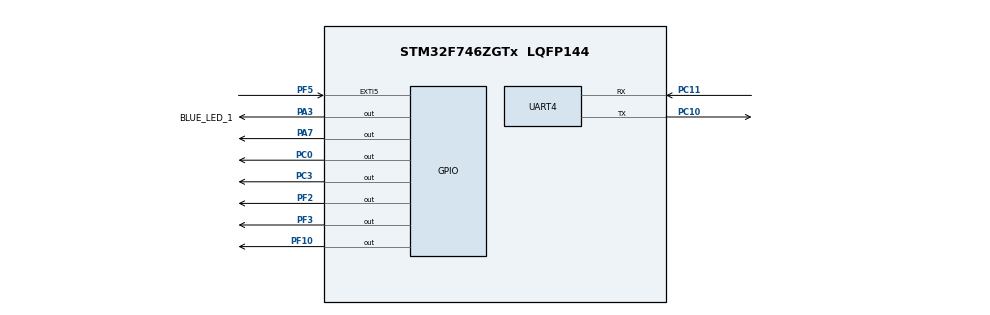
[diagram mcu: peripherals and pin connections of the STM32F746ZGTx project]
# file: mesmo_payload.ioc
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FREERTOS.Tasks01=defaultTask,24,128,StartDefaultTask,Default,NULL,Dynamic,NULL,NULL
Mcu.Family=STM32F7
Mcu.Name=STM32F746ZGTx
Mcu.Package=LQFP144
NVIC.PriorityGroup=NVIC_PRIORITYGROUP_4
NVIC.TIM1_UP_TIM10_IRQn=true\:15\:0\:false\:false\:true\:false\:false\:true\:true
NVIC.TimeBase=TIM1_UP_TIM10_IRQn
NVIC.TimeBaseIP=TIM1
NVIC.UART4_IRQn=true\:5\:0\:false\:false\:true\:true\:true\:true\:true
PA3.GPIO_Label=BLUE_LED_1
PA3.Signal=GPIO_Output
PA7.Signal=GPIO_Output
PC0.Signal=GPIO_Output
PC10.Mode=Asynchronous
PC10.Signal=UART4_TX
PC11.Mode=Asynchronous
PC11.Signal=UART4_RX
PC3.Signal=GPIO_Output
PF10.Signal=GPIO_Output
PF2.Signal=GPIO_Output
PF3.Signal=GPIO_Output
PF5.Signal=GPXTI5
ProjectManager.HeapSize=0x200
ProjectManager.StackSize=0x400
ProjectManager.TargetToolchain=STM32CubeIDE
RCC.HSE_VALUE=25000000
RCC.HSI_VALUE=16000000
RCC.LSE_VALUE=32768
RCC.USBFreq_Value=96000000
RCC.VCOOutputFreq_Value=192000000
VP_FREERTOS_VS_CMSIS_V2.Mode=CMSIS_V2
VP_SYS_VS_tim1.Mode=TIM1
board=custom

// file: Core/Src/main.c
/* USER CODE BEGIN Header */
/**
  ******************************************************************************
  * @file           : main.c
  * @brief          : Main program body
  ******************************************************************************
  * @attention
  *
  * Copyright (c) 2023 STMicroelectronics.
  * All rights reserved.
  *
  * This software is licensed under terms that can be found in the LICENSE file
  * in the root directory of this software component.
  * If no LICENSE file comes with this software, it is provided AS-IS.
  *
  ******************************************************************************
  */
/* USER CODE END Header */
#include "main.h"
#include "cmsis_os.h"

UART_HandleTypeDef huart4;

/* Definitions for defaultTask */
osThreadId_t defaultTaskHandle;
const osThreadAttr_t defaultTask_attributes = {
  .name = "defaultTask",
  .stack_size = 128 * 4,
  .priority = (osPriority_t) osPriorityNormal,
};
/* USER CODE BEGIN PV */
typedef enum {
    HEALTH_PING = 0x01,
    DATA_SEND   = 0x02,
    ECHO_MSG    = 0x03,
    LED_CONTROL = 0x04  // New command for LED control
} Command;

volatile uint8_t ledControlFlag = 0;

/* USER CODE END PV */

void SystemClock_Config(void);
static void MX_GPIO_Init(void);
static void MX_UART4_Init(void);
void StartDefaultTask(void *argument);

/* USER CODE BEGIN PFP */
uint8_t UART4_rxBuffer[2] = {0};
uint8_t UART4_txBuffer[10] = {0};

#define HEALTH_MSG  0x1409

/* USER CODE END PFP */

int main(void)
{

  /* MCU Configuration--------------------------------------------------------*/

  /* Reset of all peripherals, Initializes the Flash interface and the Systick. */
  HAL_Init();

  /* Configure the system clock */
  SystemClock_Config();

  /* Initialize all configured peripherals */
  MX_GPIO_Init();
  MX_UART4_Init();

  /* Init scheduler */
  osKernelInitialize();

  /* USER CODE BEGIN RTOS_TIMERS */
  //HAL_UART_Receive_IT(&huart4, UART4_rxBuffer, 8);
  /* USER CODE END RTOS_TIMERS */

  /* Create the thread(s) */
  /* creation of defaultTask */
  defaultTaskHandle = osThreadNew(StartDefaultTask, NULL, &defaultTask_attributes);

  /* USER CODE BEGIN RTOS_THREADS */
  HAL_UART_Receive_IT(&huart4, UART4_rxBuffer, 2);
  /* USER CODE END RTOS_THREADS */

  /* Start scheduler */
  osKernelStart();

  /* We should never get here as control is now taken by the scheduler */
  /* Infinite loop */
  while (1)
  {

  }
}

void SystemClock_Config(void)
{
  RCC_OscInitTypeDef RCC_OscInitStruct = {0};
  RCC_ClkInitTypeDef RCC_ClkInitStruct = {0};

  /** Configure the main internal regulator output voltage
  */
  __HAL_RCC_PWR_CLK_ENABLE();
  __HAL_PWR_VOLTAGESCALING_CONFIG(PWR_REGULATOR_VOLTAGE_SCALE3);

  /** Initializes the RCC Oscillators according to the specified parameters
  * in the RCC_OscInitTypeDef structure.
  */
  RCC_OscInitStruct.OscillatorType = RCC_OSCILLATORTYPE_HSI;
  RCC_OscInitStruct.HSIState = RCC_HSI_ON;
  RCC_OscInitStruct.HSICalibrationValue = RCC_HSICALIBRATION_DEFAULT;
  RCC_OscInitStruct.PLL.PLLState = RCC_PLL_NONE;
  if (HAL_RCC_OscConfig(&RCC_OscInitStruct) != HAL_OK)
  {
    Error_Handler();
  }

  /** Initializes the CPU, AHB and APB buses clocks
  */
  RCC_ClkInitStruct.ClockType = RCC_CLOCKTYPE_HCLK|RCC_CLOCKTYPE_SYSCLK
                              |RCC_CLOCKTYPE_PCLK1|RCC_CLOCKTYPE_PCLK2;
  RCC_ClkInitStruct.SYSCLKSource = RCC_SYSCLKSOURCE_HSI;
  RCC_ClkInitStruct.AHBCLKDivider = RCC_SYSCLK_DIV1;
  RCC_ClkInitStruct.APB1CLKDivider = RCC_HCLK_DIV1;
  RCC_ClkInitStruct.APB2CLKDivider = RCC_HCLK_DIV1;

  if (HAL_RCC_ClockConfig(&RCC_ClkInitStruct, FLASH_LATENCY_0) != HAL_OK)
  {
    Error_Handler();
  }
}

static void MX_UART4_Init(void)
{

  huart4.Instance = UART4;
  huart4.Init.BaudRate = 115200;
  huart4.Init.WordLength = UART_WORDLENGTH_8B;
  huart4.Init.StopBits = UART_STOPBITS_1;
  huart4.Init.Parity = UART_PARITY_NONE;
  huart4.Init.Mode = UART_MODE_TX_RX;
  huart4.Init.HwFlowCtl = UART_HWCONTROL_NONE;
  huart4.Init.OverSampling = UART_OVERSAMPLING_16;
  huart4.Init.OneBitSampling = UART_ONE_BIT_SAMPLE_DISABLE;
  huart4.AdvancedInit.AdvFeatureInit = UART_ADVFEATURE_NO_INIT;
  if (HAL_UART_Init(&huart4) != HAL_OK)
  {
    Error_Handler();
  }
  /* USER CODE BEGIN UART4_Init 2 */
  HAL_UART_IRQHandler(&huart4);
  /* USER CODE END UART4_Init 2 */

}

static void MX_GPIO_Init(void)
{
  GPIO_InitTypeDef GPIO_InitStruct = {0};

  /* GPIO Ports Clock Enable */
  __HAL_RCC_GPIOF_CLK_ENABLE();
  __HAL_RCC_GPIOC_CLK_ENABLE();
  __HAL_RCC_GPIOA_CLK_ENABLE();

  /*Configure GPIO pin Output Level */
  HAL_GPIO_WritePin(GPIOF, GPIO_PIN_2|GPIO_PIN_3|GPIO_PIN_10, GPIO_PIN_RESET);

  /*Configure GPIO pin Output Level */
  HAL_GPIO_WritePin(GPIOC, GPIO_PIN_0|GPIO_PIN_3, GPIO_PIN_RESET);

  /*Configure GPIO pin Output Level */
  HAL_GPIO_WritePin(GPIOA, BLUE_LED_1_Pin|GPIO_PIN_7, GPIO_PIN_RESET);

  /*Configure GPIO pins : PF2 PF3 PF10 */
  GPIO_InitStruct.Pin = GPIO_PIN_2|GPIO_PIN_3|GPIO_PIN_10;
  GPIO_InitStruct.Mode = GPIO_MODE_OUTPUT_PP;
  GPIO_InitStruct.Pull = GPIO_NOPULL;
  GPIO_InitStruct.Speed = GPIO_SPEED_FREQ_LOW;
  HAL_GPIO_Init(GPIOF, &GPIO_InitStruct);

  /*Configure GPIO pin : PF5 */
  GPIO_InitStruct.Pin = GPIO_PIN_5;
  GPIO_InitStruct.Mode = GPIO_MODE_IT_RISING;
  GPIO_InitStruct.Pull = GPIO_NOPULL;
  HAL_GPIO_Init(GPIOF, &GPIO_InitStruct);

  /*Configure GPIO pins : PC0 PC3 */
  GPIO_InitStruct.Pin = GPIO_PIN_0|GPIO_PIN_3;
  GPIO_InitStruct.Mode = GPIO_MODE_OUTPUT_PP;
  GPIO_InitStruct.Pull = GPIO_NOPULL;
  GPIO_InitStruct.Speed = GPIO_SPEED_FREQ_LOW;
  HAL_GPIO_Init(GPIOC, &GPIO_InitStruct);

  /*Configure GPIO pins : BLUE_LED_1_Pin PA7 */
  GPIO_InitStruct.Pin = BLUE_LED_1_Pin|GPIO_PIN_7;
  GPIO_InitStruct.Mode = GPIO_MODE_OUTPUT_PP;
  GPIO_InitStruct.Pull = GPIO_NOPULL;
  GPIO_InitStruct.Speed = GPIO_SPEED_FREQ_LOW;
  HAL_GPIO_Init(GPIOA, &GPIO_InitStruct);

}

/* USER CODE BEGIN 4 */

void HAL_UART_RxCpltCallback(UART_HandleTypeDef *huart) {
    uint8_t cmd = UART4_rxBuffer[1];
    uint8_t data = UART4_rxBuffer[0];
    uint8_t pingback[] = "1409";

    switch (cmd) {
        case HEALTH_PING:
            HAL_UART_Transmit(&huart4, pingback, sizeof(pingback), 100);
            break;
        case DATA_SEND:
            HAL_UART_Transmit(&huart4, UART4_txBuffer, sizeof(UART4_txBuffer), 100);
            break;
        case ECHO_MSG:
            HAL_UART_Transmit(&huart4, &data, 1, 100);
            break;
        case LED_CONTROL:
            // Handle LED control here or set a flag to be checked in the FreeRTOS task
            ledControlFlag = data;  // Assuming ledControlFlag is a global variable
            break;
        default:
            break;
    }

    HAL_UART_Receive_IT(&huart4, UART4_rxBuffer, 2);
}

/* USER CODE END 4 */

void StartDefaultTask(void *argument)
{
  /* USER CODE BEGIN 5 */
  /* Infinite loop */
	uint8_t pingback[] = "1409";
  for(;;)
  {

		  switch (ledControlFlag) {
			  case 0x01:
				  HAL_GPIO_TogglePin(BLUE_LED_1_GPIO_Port, BLUE_LED_1_Pin);
				  // Turn off other LEDs
				  break;
			  case 0x02:
				  HAL_GPIO_TogglePin(BLUE_LED_2_GPIO_Port, BLUE_LED_2_Pin);
				  // Turn off other LEDs
				  break;
			  case 0x03:
				  HAL_GPIO_TogglePin(BLUE_LED_3_GPIO_Port, BLUE_LED_3_Pin);
				  // Turn off other LEDs
				  break;
			  case 0x04:
				  HAL_GPIO_TogglePin(BLUE_LED_4_GPIO_Port, BLUE_LED_4_Pin);
				  // Turn off other LEDs
				  break;
			  case 0x05:
				  HAL_GPIO_TogglePin(GREEN_LED_1_GPIO_Port, GREEN_LED_1_Pin);
				  // Turn off other LEDs
				  break;
			  case 0x06:
				  HAL_GPIO_TogglePin(GREEN_LED_2_GPIO_Port, GREEN_LED_2_Pin);
				  // Turn off other LEDs
				  break;
			  case 0x07:
				  HAL_GPIO_TogglePin(GREEN_LED_3_GPIO_Port, GREEN_LED_3_Pin);
				  // Turn off other LEDs
				  break;
			  case 0x08:
				  HAL_GPIO_TogglePin(GREEN_LED_4_GPIO_Port, GREEN_LED_4_Pin);
				  // Turn off other LEDs
				  break;

			  default:

				  HAL_UART_Transmit(&huart4, pingback, sizeof(pingback), 100);
				  break;
	          }
	          osDelay(10);  // Delay for task scheduling

  }
  /* USER CODE END 5 */
}

void HAL_TIM_PeriodElapsedCallback(TIM_HandleTypeDef *htim)
{
  if (htim->Instance == TIM1) {
    HAL_IncTick();
  }
}

void Error_Handler(void)
{
  __disable_irq();
  while (1)
  {
  }
}
